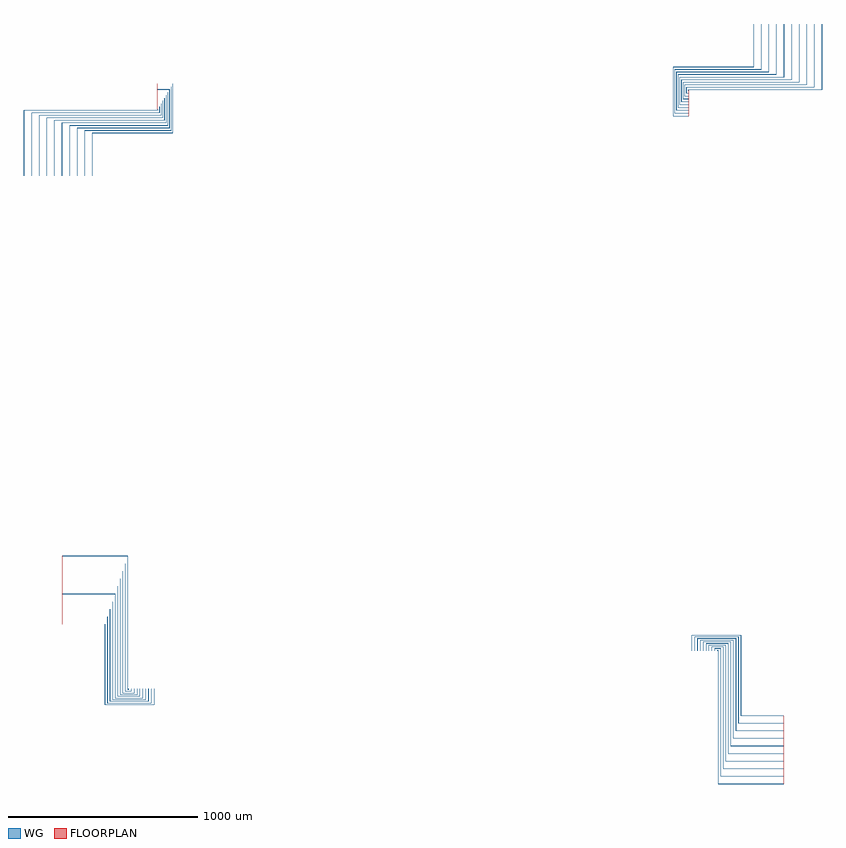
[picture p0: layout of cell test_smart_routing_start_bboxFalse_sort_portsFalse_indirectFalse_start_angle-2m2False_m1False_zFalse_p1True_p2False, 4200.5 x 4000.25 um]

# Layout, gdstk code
import gdstk
lib = gdstk.Library(unit=1e-6, precision=1e-09)
def P(c, l, *ps):  # polygons
    for p in ps: c.add(gdstk.Polygon(p, *l))
WG = (1, 0)
FLOORPLAN = (10, 0)

test_smart_routing_start = lib.new_cell('test_smart_routing_start_bboxFalse_sort_portsFalse_indirectFalse_start_angle-2m2False_m1False_zFalse_p1True_p2False')
P(test_smart_routing_start, WG, [(-54.75,-104.5),(-54.75,599.75),(-400,599.75),(-400,599.95),(-54.55,599.95),(-54.55,-104.3),(-49.95,-104.3),(-49.95,-100),(-49.75,-100),(-49.75,-104.5)],
  [(-54.45,-104.2),(-54.45,600.05),(-400,600.05),(-400,600.25),(-54.25,600.25),(-54.25,-104),(-50.25,-104),(-50.25,-100),(-50.05,-100),(-50.05,-104.2)],
  [(-68,-113.25),(-68,559.75),(-400,559.75),(-400,559.95),(-67.8,559.95),(-67.8,-113.05),(-34.95,-113.05),(-34.95,-100),(-34.75,-100),(-34.75,-113.25)],
  [(-67.7,-112.95),(-67.7,560.05),(-400,560.05),(-400,560.25),(-67.5,560.25),(-67.5,-112.75),(-35.25,-112.75),(-35.25,-100),(-35.05,-100),(-35.05,-112.95)],
  [(-81.25,-122),(-81.25,519.75),(-400,519.75),(-400,519.95),(-81.05,519.95),(-81.05,-121.8),(-19.95,-121.8),(-19.95,-100),(-19.75,-100),(-19.75,-122)],
  [(-80.95,-121.7),(-80.95,520.05),(-400,520.05),(-400,520.25),(-80.75,520.25),(-80.75,-121.5),(-20.25,-121.5),(-20.25,-100),(-20.05,-100),(-20.05,-121.7)],
  [(-94.5,-130.75),(-94.5,479.75),(-400,479.75),(-400,479.95),(-94.3,479.95),(-94.3,-130.55),(-4.95,-130.55),(-4.95,-100),(-4.75,-100),(-4.75,-130.75)],
  [(-94.2,-130.45),(-94.2,480.05),(-400,480.05),(-400,480.25),(-94,480.25),(-94,-130.25),(-5.25,-130.25),(-5.25,-100),(-5.05,-100),(-5.05,-130.45)],
  [(-107.75,-139.5),(-107.75,439.75),(-400,439.75),(-400,439.95),(-107.55,439.95),(-107.55,-139.3),(10.05,-139.3),(10.05,-100),(10.25,-100),(10.25,-139.5)],
  [(-107.45,-139.2),(-107.45,440.05),(-400,440.05),(-400,440.25),(-107.25,440.25),(-107.25,-139),(9.75,-139),(9.75,-100),(9.95,-100),(9.95,-139.2)],
  [(-121,-148.25),(-121,399.75),(-400,399.75),(-400,399.95),(-120.8,399.95),(-120.8,-148.05),(25.05,-148.05),(25.05,-100),(25.25,-100),(25.25,-148.25)],
  [(-120.7,-147.95),(-120.7,400.05),(-400,400.05),(-400,400.25),(-120.5,400.25),(-120.5,-147.75),(24.75,-147.75),(24.75,-100),(24.95,-100),(24.95,-147.95)],
  [(-134.25,-157),(-134.25,359.75),(-400,359.75),(-400,359.95),(-134.05,359.95),(-134.05,-156.8),(40.05,-156.8),(40.05,-100),(40.25,-100),(40.25,-157)],
  [(-133.95,-156.7),(-133.95,360.05),(-400,360.05),(-400,360.25),(-133.75,360.25),(-133.75,-156.5),(39.75,-156.5),(39.75,-100),(39.95,-100),(39.95,-156.7)],
  [(-147.5,-165.75),(-147.5,319.75),(-400,319.75),(-400,319.95),(-147.3,319.95),(-147.3,-165.55),(55.05,-165.55),(55.05,-100),(55.25,-100),(55.25,-165.75)],
  [(-147.2,-165.45),(-147.2,320.05),(-400,320.05),(-400,320.25),(-147,320.25),(-147,-165.25),(54.75,-165.25),(54.75,-100),(54.95,-100),(54.95,-165.45)],
  [(-160.75,-174.5),(-160.75,279.75),(-400,279.75),(-400,279.95),(-160.55,279.95),(-160.55,-174.3),(70.05,-174.3),(70.05,-100),(70.25,-100),(70.25,-174.5)],
  [(-160.45,-174.2),(-160.45,280.05),(-400,280.05),(-400,280.25),(-160.25,280.25),(-160.25,-174),(69.75,-174),(69.75,-100),(69.95,-100),(69.95,-174.2)],
  [(-174,-183.25),(-174,239.75),(-400,239.75),(-400,239.95),(-173.8,239.95),(-173.8,-183.05),(85.05,-183.05),(85.05,-100),(85.25,-100),(85.25,-183.25)],
  [(-173.7,-182.95),(-173.7,240.05),(-400,240.05),(-400,240.25),(-173.5,240.25),(-173.5,-182.75),(84.75,-182.75),(84.75,-100),(84.95,-100),(84.95,-182.95)],
  [(-600.25,2600),(-600.25,2945.75),(104,2945.75),(104,2949.75),(100,2949.75),(100,2949.95),(104.2,2949.95),(104.2,2945.55),(-600.05,2945.55),(-600.05,2600)],
  [(-599.95,2600),(-599.95,2945.45),(104.3,2945.45),(104.3,2950.05),(100,2950.05),(100,2950.25),(104.5,2950.25),(104.5,2945.25),(-599.75,2945.25),(-599.75,2600)],
  [(-560.25,2600),(-560.25,2932.5),(112.75,2932.5),(112.75,2964.75),(100,2964.75),(100,2964.95),(112.95,2964.95),(112.95,2932.3),(-560.05,2932.3),(-560.05,2600)],
  [(-559.95,2600),(-559.95,2932.2),(113.05,2932.2),(113.05,2965.05),(100,2965.05),(100,2965.25),(113.25,2965.25),(113.25,2932),(-559.75,2932),(-559.75,2600)],
  [(-520.25,2600),(-520.25,2919.25),(121.5,2919.25),(121.5,2979.75),(100,2979.75),(100,2979.95),(121.7,2979.95),(121.7,2919.05),(-520.05,2919.05),(-520.05,2600)],
  [(-519.95,2600),(-519.95,2918.95),(121.8,2918.95),(121.8,2980.05),(100,2980.05),(100,2980.25),(122,2980.25),(122,2918.75),(-519.75,2918.75),(-519.75,2600)],
  [(-480.25,2600),(-480.25,2906),(130.25,2906),(130.25,2994.75),(100,2994.75),(100,2994.95),(130.45,2994.95),(130.45,2905.8),(-480.05,2905.8),(-480.05,2600)],
  [(-479.95,2600),(-479.95,2905.7),(130.55,2905.7),(130.55,2995.05),(100,2995.05),(100,2995.25),(130.75,2995.25),(130.75,2905.5),(-479.75,2905.5),(-479.75,2600)],
  [(-440.25,2600),(-440.25,2892.75),(139,2892.75),(139,3009.75),(100,3009.75),(100,3009.95),(139.2,3009.95),(139.2,2892.55),(-440.05,2892.55),(-440.05,2600)],
  [(-439.95,2600),(-439.95,2892.45),(139.3,2892.45),(139.3,3010.05),(100,3010.05),(100,3010.25),(139.5,3010.25),(139.5,2892.25),(-439.75,2892.25),(-439.75,2600)],
  [(-400.25,2600),(-400.25,2879.5),(147.75,2879.5),(147.75,3024.75),(100,3024.75),(100,3024.95),(147.95,3024.95),(147.95,2879.3),(-400.05,2879.3),(-400.05,2600)],
  [(-399.95,2600),(-399.95,2879.2),(148.05,2879.2),(148.05,3025.05),(100,3025.05),(100,3025.25),(148.25,3025.25),(148.25,2879),(-399.75,2879),(-399.75,2600)],
  [(-360.25,2600),(-360.25,2866.25),(156.5,2866.25),(156.5,3039.75),(100,3039.75),(100,3039.95),(156.7,3039.95),(156.7,2866.05),(-360.05,2866.05),(-360.05,2600)],
  [(-359.95,2600),(-359.95,2865.95),(156.8,2865.95),(156.8,3040.05),(100,3040.05),(100,3040.25),(157,3040.25),(157,2865.75),(-359.75,2865.75),(-359.75,2600)],
  [(-320.25,2600),(-320.25,2853),(165.25,2853),(165.25,3054.75),(100,3054.75),(100,3054.95),(165.45,3054.95),(165.45,2852.8),(-320.05,2852.8),(-320.05,2600)],
  [(-319.95,2600),(-319.95,2852.7),(165.55,2852.7),(165.55,3055.05),(100,3055.05),(100,3055.25),(165.75,3055.25),(165.75,2852.5),(-319.75,2852.5),(-319.75,2600)],
  [(-280.25,2600),(-280.25,2839.75),(174,2839.75),(174,3069.75),(100,3069.75),(100,3069.95),(174.2,3069.95),(174.2,2839.55),(-280.05,2839.55),(-280.05,2600)],
  [(-279.95,2600),(-279.95,2839.45),(174.3,2839.45),(174.3,3070.05),(100,3070.05),(100,3070.25),(174.5,3070.25),(174.5,2839.25),(-279.75,2839.25),(-279.75,2600)],
  [(-240.25,2600),(-240.25,2826.5),(182.75,2826.5),(182.75,3084.75),(100,3084.75),(100,3084.95),(182.95,3084.95),(182.95,2826.3),(-240.05,2826.3),(-240.05,2600)],
  [(-239.95,2600),(-239.95,2826.2),(183.05,2826.2),(183.05,3085.05),(100,3085.05),(100,3085.25),(183.25,3085.25),(183.25,2826),(-239.75,2826),(-239.75,2600)],
  [(3054.25,-600.25),(3054.25,104),(3050.25,104),(3050.25,100),(3050.05,100),(3050.05,104.2),(3054.45,104.2),(3054.45,-600.05),(3400,-600.05),(3400,-600.25)],
  [(3054.55,-599.95),(3054.55,104.3),(3049.95,104.3),(3049.95,100),(3049.75,100),(3049.75,104.5),(3054.75,104.5),(3054.75,-599.75),(3400,-599.75),(3400,-599.95)],
  [(3067.5,-560.25),(3067.5,112.75),(3035.25,112.75),(3035.25,100),(3035.05,100),(3035.05,112.95),(3067.7,112.95),(3067.7,-560.05),(3400,-560.05),(3400,-560.25)],
  [(3067.8,-559.95),(3067.8,113.05),(3034.95,113.05),(3034.95,100),(3034.75,100),(3034.75,113.25),(3068,113.25),(3068,-559.75),(3400,-559.75),(3400,-559.95)],
  [(3080.75,-520.25),(3080.75,121.5),(3020.25,121.5),(3020.25,100),(3020.05,100),(3020.05,121.7),(3080.95,121.7),(3080.95,-520.05),(3400,-520.05),(3400,-520.25)],
  [(3081.05,-519.95),(3081.05,121.8),(3019.95,121.8),(3019.95,100),(3019.75,100),(3019.75,122),(3081.25,122),(3081.25,-519.75),(3400,-519.75),(3400,-519.95)],
  [(3094,-480.25),(3094,130.25),(3005.25,130.25),(3005.25,100),(3005.05,100),(3005.05,130.45),(3094.2,130.45),(3094.2,-480.05),(3400,-480.05),(3400,-480.25)],
  [(3094.3,-479.95),(3094.3,130.55),(3004.95,130.55),(3004.95,100),(3004.75,100),(3004.75,130.75),(3094.5,130.75),(3094.5,-479.75),(3400,-479.75),(3400,-479.95)],
  [(3107.25,-440.25),(3107.25,139),(2990.25,139),(2990.25,100),(2990.05,100),(2990.05,139.2),(3107.45,139.2),(3107.45,-440.05),(3400,-440.05),(3400,-440.25)],
  [(3107.55,-439.95),(3107.55,139.3),(2989.95,139.3),(2989.95,100),(2989.75,100),(2989.75,139.5),(3107.75,139.5),(3107.75,-439.75),(3400,-439.75),(3400,-439.95)],
  [(3120.5,-400.25),(3120.5,147.75),(2975.25,147.75),(2975.25,100),(2975.05,100),(2975.05,147.95),(3120.7,147.95),(3120.7,-400.05),(3400,-400.05),(3400,-400.25)],
  [(3120.8,-399.95),(3120.8,148.05),(2974.95,148.05),(2974.95,100),(2974.75,100),(2974.75,148.25),(3121,148.25),(3121,-399.75),(3400,-399.75),(3400,-399.95)],
  [(3133.75,-360.25),(3133.75,156.5),(2960.25,156.5),(2960.25,100),(2960.05,100),(2960.05,156.7),(3133.95,156.7),(3133.95,-360.05),(3400,-360.05),(3400,-360.25)],
  [(3134.05,-359.95),(3134.05,156.8),(2959.95,156.8),(2959.95,100),(2959.75,100),(2959.75,157),(3134.25,157),(3134.25,-359.75),(3400,-359.75),(3400,-359.95)],
  [(3147,-320.25),(3147,165.25),(2945.25,165.25),(2945.25,100),(2945.05,100),(2945.05,165.45),(3147.2,165.45),(3147.2,-320.05),(3400,-320.05),(3400,-320.25)],
  [(3147.3,-319.95),(3147.3,165.55),(2944.95,165.55),(2944.95,100),(2944.75,100),(2944.75,165.75),(3147.5,165.75),(3147.5,-319.75),(3400,-319.75),(3400,-319.95)],
  [(3160.25,-280.25),(3160.25,174),(2930.25,174),(2930.25,100),(2930.05,100),(2930.05,174.2),(3160.45,174.2),(3160.45,-280.05),(3400,-280.05),(3400,-280.25)],
  [(3160.55,-279.95),(3160.55,174.3),(2929.95,174.3),(2929.95,100),(2929.75,100),(2929.75,174.5),(3160.75,174.5),(3160.75,-279.75),(3400,-279.75),(3400,-279.95)],
  [(3173.5,-240.25),(3173.5,182.75),(2915.25,182.75),(2915.25,100),(2915.05,100),(2915.05,182.95),(3173.7,182.95),(3173.7,-240.05),(3400,-240.05),(3400,-240.25)],
  [(3173.8,-239.95),(3173.8,183.05),(2914.95,183.05),(2914.95,100),(2914.75,100),(2914.75,183.25),(3174,183.25),(3174,-239.75),(3400,-239.75),(3400,-239.95)],
  [(2895.5,3049.75),(2895.5,3054.75),(3599.75,3054.75),(3599.75,3400),(3599.95,3400),(3599.95,3054.55),(2895.7,3054.55),(2895.7,3049.95),(2900,3049.95),(2900,3049.75)],
  [(2895.8,3050.05),(2895.8,3054.45),(3600.05,3054.45),(3600.05,3400),(3600.25,3400),(3600.25,3054.25),(2896,3054.25),(2896,3050.25),(2900,3050.25),(2900,3050.05)],
  [(2886.75,3034.75),(2886.75,3068),(3559.75,3068),(3559.75,3400),(3559.95,3400),(3559.95,3067.8),(2886.95,3067.8),(2886.95,3034.95),(2900,3034.95),(2900,3034.75)],
  [(2887.05,3035.05),(2887.05,3067.7),(3560.05,3067.7),(3560.05,3400),(3560.25,3400),(3560.25,3067.5),(2887.25,3067.5),(2887.25,3035.25),(2900,3035.25),(2900,3035.05)],
  [(2878,3019.75),(2878,3081.25),(3519.75,3081.25),(3519.75,3400),(3519.95,3400),(3519.95,3081.05),(2878.2,3081.05),(2878.2,3019.95),(2900,3019.95),(2900,3019.75)],
  [(2878.3,3020.05),(2878.3,3080.95),(3520.05,3080.95),(3520.05,3400),(3520.25,3400),(3520.25,3080.75),(2878.5,3080.75),(2878.5,3020.25),(2900,3020.25),(2900,3020.05)],
  [(2869.25,3004.75),(2869.25,3094.5),(3479.75,3094.5),(3479.75,3400),(3479.95,3400),(3479.95,3094.3),(2869.45,3094.3),(2869.45,3004.95),(2900,3004.95),(2900,3004.75)],
  [(2869.55,3005.05),(2869.55,3094.2),(3480.05,3094.2),(3480.05,3400),(3480.25,3400),(3480.25,3094),(2869.75,3094),(2869.75,3005.25),(2900,3005.25),(2900,3005.05)],
  [(2860.5,2989.75),(2860.5,3107.75),(3439.75,3107.75),(3439.75,3400),(3439.95,3400),(3439.95,3107.55),(2860.7,3107.55),(2860.7,2989.95),(2900,2989.95),(2900,2989.75)],
  [(2860.8,2990.05),(2860.8,3107.45),(3440.05,3107.45),(3440.05,3400),(3440.25,3400),(3440.25,3107.25),(2861,3107.25),(2861,2990.25),(2900,2990.25),(2900,2990.05)],
  [(2851.75,2974.75),(2851.75,3121),(3399.75,3121),(3399.75,3400),(3399.95,3400),(3399.95,3120.8),(2851.95,3120.8),(2851.95,2974.95),(2900,2974.95),(2900,2974.75)],
  [(2852.05,2975.05),(2852.05,3120.7),(3400.05,3120.7),(3400.05,3400),(3400.25,3400),(3400.25,3120.5),(2852.25,3120.5),(2852.25,2975.25),(2900,2975.25),(2900,2975.05)],
  [(2843,2959.75),(2843,3134.25),(3359.75,3134.25),(3359.75,3400),(3359.95,3400),(3359.95,3134.05),(2843.2,3134.05),(2843.2,2959.95),(2900,2959.95),(2900,2959.75)],
  [(2843.3,2960.05),(2843.3,3133.95),(3360.05,3133.95),(3360.05,3400),(3360.25,3400),(3360.25,3133.75),(2843.5,3133.75),(2843.5,2960.25),(2900,2960.25),(2900,2960.05)],
  [(2834.25,2944.75),(2834.25,3147.5),(3319.75,3147.5),(3319.75,3400),(3319.95,3400),(3319.95,3147.3),(2834.45,3147.3),(2834.45,2944.95),(2900,2944.95),(2900,2944.75)],
  [(2834.55,2945.05),(2834.55,3147.2),(3320.05,3147.2),(3320.05,3400),(3320.25,3400),(3320.25,3147),(2834.75,3147),(2834.75,2945.25),(2900,2945.25),(2900,2945.05)],
  [(2825.5,2929.75),(2825.5,3160.75),(3279.75,3160.75),(3279.75,3400),(3279.95,3400),(3279.95,3160.55),(2825.7,3160.55),(2825.7,2929.95),(2900,2929.95),(2900,2929.75)],
  [(2825.8,2930.05),(2825.8,3160.45),(3280.05,3160.45),(3280.05,3400),(3280.25,3400),(3280.25,3160.25),(2826,3160.25),(2826,2930.25),(2900,2930.25),(2900,2930.05)],
  [(2816.75,2914.75),(2816.75,3174),(3239.75,3174),(3239.75,3400),(3239.95,3400),(3239.95,3173.8),(2816.95,3173.8),(2816.95,2914.95),(2900,2914.95),(2900,2914.75)],
  [(2817.05,2915.05),(2817.05,3173.7),(3240.05,3173.7),(3240.05,3400),(3240.25,3400),(3240.25,3173.5),(2817.25,3173.5),(2817.25,2915.25),(2900,2915.25),(2900,2915.05)])
P(test_smart_routing_start, FLOORPLAN, [(-50,-100),(-50,-100),(85,-100),(85,-100)],
  [(100,2950),(100,3085),(100,3085),(100,2950)],
  [(2915,100),(2915,100),(3050,100),(3050,100)],
  [(2900,2915),(2900,3050),(2900,3050),(2900,2915)],
  [(-400,240),(-400,600),(-400,600),(-400,240)],
  [(-600,2600),(-600,2600),(-240,2600),(-240,2600)],
  [(3400,-600),(3400,-240),(3400,-240),(3400,-600)],
  [(3240,3400),(3240,3400),(3600,3400),(3600,3400)])

lib.write_gds('test_smart_routing_start_bboxFalse_sort_portsFalse_indirectFalse_start_angle-2m2False_m1False_zFalse_p1True_p2False.gds')
